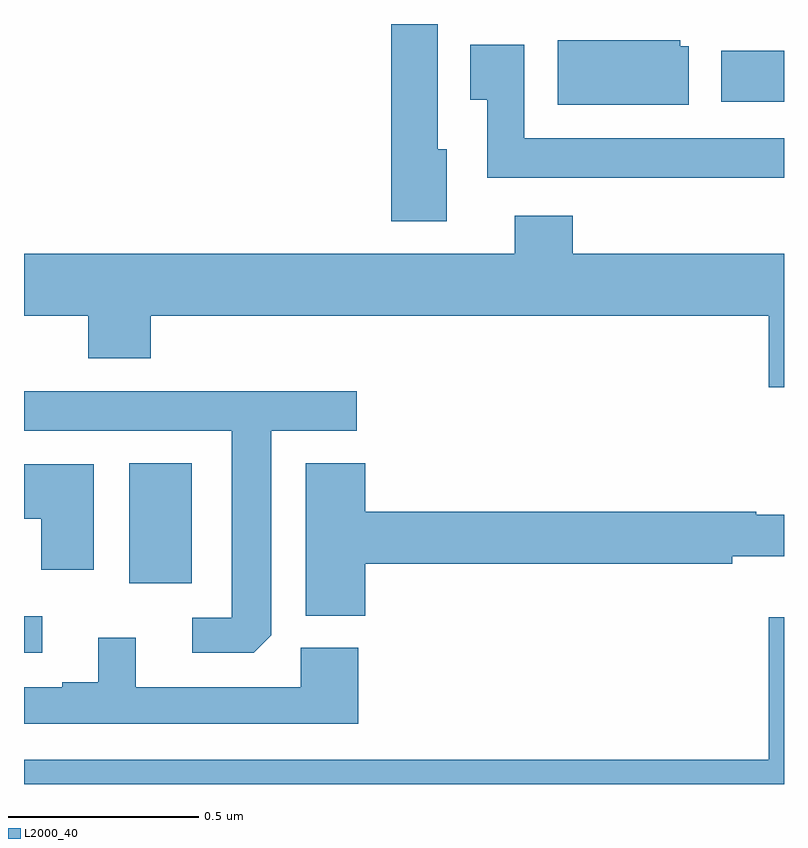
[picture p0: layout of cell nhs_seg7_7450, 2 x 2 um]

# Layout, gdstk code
import gdstk
lib = gdstk.Library(unit=1e-6, precision=1e-09)
def R(c, l, rs):  # rectangles x0, y0, x1, y1
    for r in rs: c.add(gdstk.rectangle(r[:2], r[2:], *l))
def P(c, l, *ps):  # polygons
    for p in ps: c.add(gdstk.Polygon(p, *l))
L2000_40 = (2000, 40)

nhs_seg7_7450 = lib.new_cell('nhs_seg7_7450')
R(nhs_seg7_7450, L2000_40, [(211,1050.345,211.048,1050.441), (211.277,1050.528,211.441,1050.844), (212.835,1051.796,213,1051.93)])
P(nhs_seg7_7450, L2000_40, [(212.113,1051.671),(212.089,1051.671),(212.089,1052),(211.967,1052),(211.967,1051.481),(212.113,1051.481)],
  [(212.749,1051.941),(212.727,1051.941),(212.727,1051.957),(212.405,1051.957),(212.405,1051.787),(212.749,1051.787)],
  [(213,1051.699),(212.316,1051.699),(212.316,1051.945),(212.174,1051.945),(212.174,1051.801),(212.219,1051.801),(212.219,1051.595),(213,1051.595)],
  [(213,1051.396),(212.444,1051.396),(212.444,1051.495),(212.291,1051.495),(212.291,1051.396),(211,1051.396),(211,1051.232),(211.169,1051.232),(211.169,1051.121),(211.334,1051.121),(211.334,1051.232),(212.96,1051.232),(212.96,1051.044),(213,1051.044)],
  [(211.65,1050.391),(211.65,1050.502),(211.651,1050.502),(211.651,1050.929),(211.876,1050.929),(211.876,1051.033),(211,1051.033),(211,1050.929),(211.547,1050.929),(211.547,1050.438),(211.443,1050.438),(211.443,1050.345),(211.604,1050.345)],
  [(211.898,1050.58),(212.864,1050.58),(212.864,1050.599),(213,1050.599),(213,1050.709),(212.927,1050.709),(212.927,1050.716),(211.898,1050.716),(211.898,1050.844),(211.742,1050.844),(211.742,1050.443),(211.898,1050.443)],
  [(211.183,1050.841),(211,1050.841),(211,1050.698),(211.046,1050.698),(211.046,1050.564),(211.183,1050.564)],
  [(213,1050.439),(212.96,1050.439),(212.96,1050.064),(211,1050.064),(211,1050),(213,1050)],
  [(211.88,1050.358),(211.728,1050.358),(211.728,1050.255),(211.294,1050.255),(211.294,1050.385),(211.196,1050.385),(211.196,1050.268),(211.1,1050.268),(211.1,1050.255),(211,1050.255),(211,1050.159),(211.88,1050.159)])

lib.write_gds('nhs_seg7_7450.gds')
